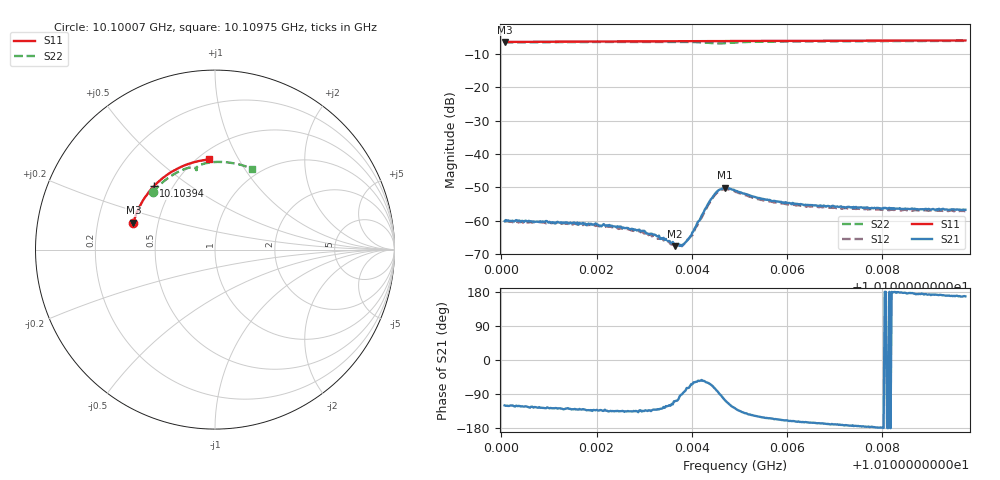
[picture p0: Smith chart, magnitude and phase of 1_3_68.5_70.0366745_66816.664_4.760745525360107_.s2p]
#  HZ  S  RI  R  50.00
! Rohde & Schwarz Vector Network Analyzer
! Rohde-Schwarz,ZNB20-2Port,1311601062101988,3.16
! Created: UTC 3/20/2024, 5:03:46 PM
! freq[Hz]  re:S11  im:S11  re:S21  im:S21  re:S12  im:S12  re:S22  im:S22
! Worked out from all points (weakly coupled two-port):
!   401 points, 10.10007 GHz to 10.10975 GHz, reference 50 ohm
!   highest |S21| = -50.10 dB at 10.10469 GHz (marker M1); lowest = -67.5 dB at 10.10365 GHz (marker M2)
!   lowest |S11| = -6.4 dB at 10.10007 GHz (marker M3), VSWR 2.84, Z = 18 + j6.99 ohm
!   |S11| at or under -10 dB: nowhere
!   |S22| runs from -6.9 to -6.1 dB; largest |S21 - S12| = 0.00033
!   S11 on the Smith chart (normalised r, x): 10.10007 GHz: 0.36, +0.14; 10.10394 GHz: 0.39, +0.37; 10.10975 GHz: 0.57, +0.76
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1.0100068e10  -0.4547 0.1496  -0.000491 -0.000857  -0.000417 -0.000879  -0.3472 0.3186
1.0100916e10  -0.4385 0.1986  -0.000588 -0.000777  -0.000488 -0.000795  -0.3098 0.3586
1.0101085e10  -0.4347 0.2083  -0.000575 -0.000757  -0.000512 -0.000784  -0.3018 0.3661
1.0101691e10  -0.4192 0.2418  -0.000594 -0.000686  -0.000555 -0.000709  -0.2717 0.3911
1.0102272e10  -0.4021 0.2727  -0.000616 -0.000609  -0.000514 -0.00063  -0.2405 0.4129
1.0102635e10  -0.3902 0.2913  -0.000559 -0.000547  -0.000491 -0.000565  -0.22 0.4251
1.010295e10  -0.3792 0.3069  -0.000507 -0.000491  -0.000461 -0.000505  -0.2015 0.4351
1.0103313e10  -0.366 0.3244  -0.00039 -0.000457  -0.000309 -0.000445  -0.1789 0.4454
1.0103652e10  -0.3525 0.3402  -0.000133 -0.000398  -0.000109 -0.000435  -0.1564 0.4531
1.0103797e10  -0.3467 0.3468  -3.91e-06 -0.000424  3.15e-06 -0.000417  -0.1463 0.4558
1.0103942e10  -0.3407 0.3532  0.000155 -0.000521  0.000236 -0.00049  -0.1355 0.4578
1.0104015e10  -0.3376 0.3564  0.000295 -0.000601  0.000325 -0.000512  -0.1299 0.458
1.010433e10  -0.3241 0.3698  0.000865 -0.00147  0.000946 -0.00133  -0.1062 0.4529
1.0104451e10  -0.3187 0.3747  0.000789 -0.00218  0.000928 -0.00204  -0.1015 0.4468
1.0104572e10  -0.3135 0.3797  0.000121 -0.00289  0.000369 -0.00274  -0.1026 0.4427
1.0104693e10  -0.308 0.3846  -0.000814 -0.00302  -0.0005 -0.00293  -0.1058 0.445
1.0104911e10  -0.2981 0.393  -0.00172 -0.00226  -0.00149 -0.00232  -0.1016 0.4584
1.010554e10  -0.2678 0.4162  -0.00186 -0.000963  -0.00166 -0.00109  -0.0605 0.4794
1.0106049e10  -0.242 0.4331  -0.00175 -0.000603  -0.00159 -0.000757  -0.0262 0.4857
1.0106533e10  -0.2166 0.4476  -0.00166 -0.000429  -0.00154 -0.000555  0.00592 0.4883
1.0108155e10  -0.1258 0.4846  -0.00157 5.38e-06  -0.00143 -0.000156  0.1103 0.48
1.0109753e10  -0.0308 0.5023  -0.00143 0.000304  -0.00138 0.000156  0.2074 0.4499
